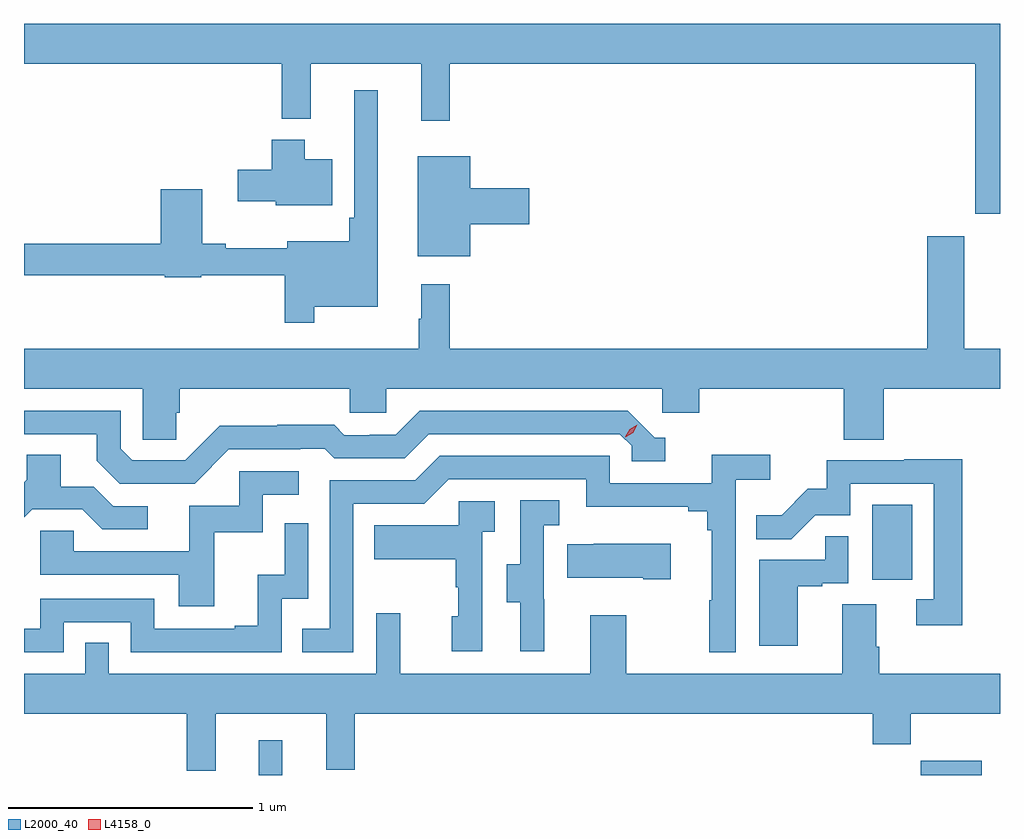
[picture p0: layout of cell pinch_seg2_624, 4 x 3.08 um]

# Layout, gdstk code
import gdstk
lib = gdstk.Library(unit=1e-6, precision=1e-09)
def R(c, l, rs):  # rectangles x0, y0, x1, y1
    for r in rs: c.add(gdstk.rectangle(r[:2], r[2:], *l))
def P(c, l, *ps):  # polygons
    for p in ps: c.add(gdstk.Polygon(p, *l))
L2000_40 = (2000, 40)
L4158_0 = (4158, 0)

pinch_seg2_624 = lib.new_cell('pinch_seg2_624')
R(pinch_seg2_624, L2000_40, [(1056.62,598.101,1056.717,598.243), (1059.334,598.101,1059.583,598.159), (1059.134,598.902,1059.298,599.209)])
P(pinch_seg2_624, L2000_40, [(1059.658,601.18),(1055.658,601.18),(1055.658,601.016),(1056.715,601.016),(1056.715,600.791),(1056.833,600.791),(1056.833,601.016),(1057.286,601.016),(1057.286,600.783),(1057.403,600.783),(1057.403,601.016),(1059.557,601.016),(1059.557,600.402),(1059.658,600.402)],
  [(1056.847,600.02),(1057.108,600.02),(1057.108,600.907),(1057.011,600.907),(1057.011,600.385),(1056.991,600.385),(1056.991,600.289),(1056.737,600.289),(1056.737,600.26),(1056.484,600.26),(1056.484,600.278),(1056.388,600.278),(1056.388,600.502),(1056.218,600.502),(1056.218,600.278),(1055.658,600.278),(1055.658,600.15),(1056.234,600.15),(1056.234,600.142),(1056.384,600.142),(1056.384,600.15),(1056.726,600.15),(1056.726,599.955),(1056.847,599.955)],
  [(1056.922,600.625),(1056.808,600.625),(1056.808,600.706),(1056.674,600.706),(1056.674,600.582),(1056.534,600.582),(1056.534,600.452),(1056.69,600.452),(1056.69,600.437),(1056.922,600.437)],
  [(1057.486,600.359),(1057.729,600.359),(1057.729,600.506),(1057.486,600.506),(1057.486,600.637),(1057.271,600.637),(1057.271,600.227),(1057.486,600.227)],
  [(1056.281,599.586),(1056.296,599.586),(1056.296,599.684),(1056.993,599.684),(1056.993,599.586),(1057.143,599.586),(1057.143,599.684),(1058.274,599.684),(1058.274,599.586),(1058.426,599.586),(1058.426,599.684),(1059.017,599.684),(1059.017,599.476),(1059.182,599.476),(1059.182,599.684),(1059.658,599.684),(1059.658,599.848),(1059.511,599.848),(1059.511,600.31),(1059.359,600.31),(1059.359,599.848),(1057.403,599.848),(1057.403,600.112),(1057.286,600.112),(1057.286,599.972),(1057.275,599.972),(1057.275,599.848),(1055.658,599.848),(1055.658,599.684),(1056.144,599.684),(1056.144,599.476),(1056.281,599.476)],
  [(1056.498,599.436),(1056.791,599.436),(1056.791,599.439),(1056.89,599.439),(1056.929,599.4),(1057.218,599.4),(1057.317,599.499),(1058.1,599.499),(1058.148,599.451),(1058.148,599.388),(1058.287,599.388),(1058.287,599.484),(1058.244,599.484),(1058.133,599.595),(1057.28,599.595),(1057.181,599.496),(1057.074,599.496),(1057.074,599.493),(1056.971,599.493),(1056.929,599.536),(1056.696,599.536),(1056.696,599.533),(1056.46,599.533),(1056.318,599.391),(1056.102,599.391),(1056.054,599.439),(1056.054,599.595),(1055.658,599.595),(1055.658,599.499),(1055.957,599.499),(1055.957,599.389),(1056.051,599.295),(1056.357,599.295)],
  [(1056.166,599.202),(1056.024,599.202),(1055.944,599.282),(1055.809,599.282),(1055.809,599.414),(1055.669,599.414),(1055.669,599.312),(1055.658,599.301),(1055.658,599.157),(1055.691,599.19),(1055.897,599.19),(1055.978,599.109),(1056.166,599.109)],
  [(1057.008,599.214),(1057.299,599.214),(1057.398,599.313),(1057.962,599.313),(1057.962,599.201),(1058.381,599.201),(1058.381,599.182),(1058.458,599.182),(1058.458,599.105),(1058.477,599.105),(1058.477,598.817),(1058.466,598.817),(1058.466,598.605),(1058.574,598.605),(1058.574,599.312),(1058.716,599.312),(1058.716,599.414),(1058.477,599.414),(1058.477,599.298),(1058.058,599.298),(1058.058,599.409),(1057.361,599.409),(1057.262,599.31),(1056.912,599.31),(1056.912,598.701),(1056.799,598.701),(1056.799,598.605),(1057.008,598.605)],
  [(1059.503,599.396),(1059.265,599.396),(1059.265,599.391),(1058.947,599.391),(1058.947,599.274),(1058.87,599.274),(1058.763,599.167),(1058.659,599.167),(1058.659,599.068),(1058.803,599.068),(1058.901,599.166),(1059.045,599.166),(1059.045,599.295),(1059.387,599.295),(1059.387,598.821),(1059.315,598.821),(1059.315,598.716),(1059.503,598.716)],
  [(1056.437,599.097),(1056.636,599.097),(1056.636,599.25),(1056.784,599.25),(1056.784,599.346),(1056.54,599.346),(1056.54,599.205),(1056.335,599.205),(1056.335,599.019),(1055.861,599.019),(1055.861,599.103),(1055.724,599.103),(1055.724,598.923),(1056.293,598.923),(1056.293,598.794),(1056.437,598.794)],
  [(1057.79,598.821),(1057.788,598.821),(1057.788,599.125),(1057.852,599.125),(1057.852,599.228),(1057.692,599.228),(1057.692,598.965),(1057.637,598.965),(1057.637,598.81),(1057.691,598.81),(1057.691,598.608),(1057.79,598.608)],
  [(1057.536,599.099),(1057.588,599.099),(1057.588,599.223),(1057.44,599.223),(1057.44,599.125),(1057.093,599.125),(1057.093,598.985),(1057.428,598.985),(1057.428,598.871),(1057.438,598.871),(1057.438,598.752),(1057.412,598.752),(1057.412,598.608),(1057.536,598.608)],
  [(1055.82,598.728),(1056.096,598.728),(1056.096,598.605),(1056.714,598.605),(1056.714,598.824),(1056.822,598.824),(1056.822,599.134),(1056.726,599.134),(1056.726,598.922),(1056.617,598.922),(1056.617,598.714),(1056.521,598.714),(1056.521,598.701),(1056.192,598.701),(1056.192,598.824),(1055.724,598.824),(1055.724,598.701),(1055.658,598.701),(1055.658,598.605),(1055.82,598.605)],
  [(1058.83,598.875),(1058.93,598.875),(1058.93,598.887),(1059.036,598.887),(1059.036,599.081),(1058.941,599.081),(1058.941,598.983),(1058.672,598.983),(1058.672,598.632),(1058.83,598.632)],
  [(1058.308,599.05),(1057.993,599.05),(1057.993,599.047),(1057.885,599.047),(1057.885,598.91),(1058.195,598.91),(1058.195,598.903),(1058.308,598.903)],
  [(1056.443,598.352),(1056.896,598.352),(1056.896,598.124),(1057.013,598.124),(1057.013,598.352),(1059.137,598.352),(1059.137,598.228),(1059.293,598.228),(1059.293,598.352),(1059.658,598.352),(1059.658,598.516),(1059.164,598.516),(1059.164,598.628),(1059.151,598.628),(1059.151,598.802),(1059.011,598.802),(1059.011,598.516),(1058.127,598.516),(1058.127,598.756),(1057.979,598.756),(1057.979,598.516),(1057.199,598.516),(1057.199,598.765),(1057.101,598.765),(1057.101,598.516),(1056.006,598.516),(1056.006,598.643),(1055.91,598.643),(1055.91,598.516),(1055.658,598.516),(1055.658,598.352),(1056.325,598.352),(1056.325,598.119),(1056.443,598.119)])
P(pinch_seg2_624, L4158_0, [(1058.122,599.486),(1058.122,599.487),(1058.14,599.519),(1058.171,599.537),(1058.172,599.537),(1058.172,599.537),(1058.154,599.505),(1058.122,599.486)])

lib.write_gds('pinch_seg2_624.gds')
